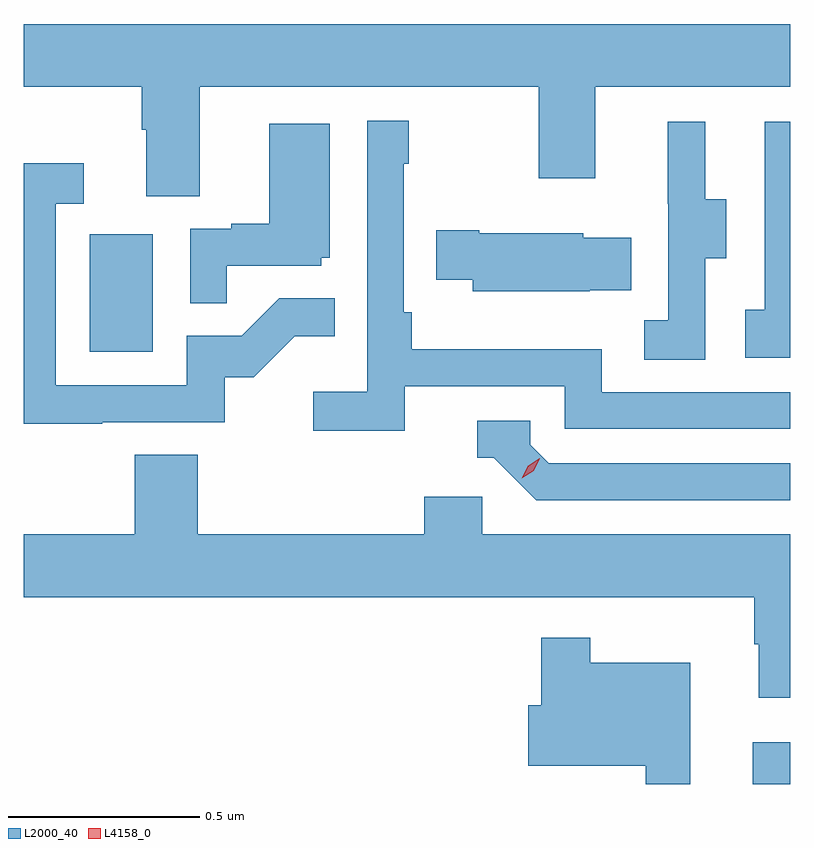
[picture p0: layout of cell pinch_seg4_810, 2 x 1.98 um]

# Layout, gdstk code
import gdstk
lib = gdstk.Library(unit=1e-6, precision=1e-09)
def R(c, l, rs):  # rectangles x0, y0, x1, y1
    for r in rs: c.add(gdstk.rectangle(r[:2], r[2:], *l))
def P(c, l, *ps):  # polygons
    for p in ps: c.add(gdstk.Polygon(p, *l))
L2000_40 = (2000, 40)
L4158_0 = (4158, 0)

pinch_seg4_810 = lib.new_cell('pinch_seg4_810')
R(pinch_seg4_810, L2000_40, [(806.855,820.308,806.952,820.417), (805.124,821.436,805.288,821.743)])
P(pinch_seg4_810, L2000_40, [(805.411,822.128),(806.296,822.128),(806.296,821.889),(806.443,821.889),(806.443,822.128),(806.952,822.128),(806.952,822.292),(804.952,822.292),(804.952,822.128),(805.259,822.128),(805.259,822.016),(805.271,822.016),(805.271,821.842),(805.411,821.842)],
  [(805.946,821.346),(806.364,821.346),(806.364,821.235),(806.952,821.235),(806.952,821.331),(806.46,821.331),(806.46,821.443),(805.964,821.443),(805.964,821.539),(805.944,821.539),(805.944,821.927),(805.957,821.927),(805.957,822.04),(805.848,822.04),(805.848,821.332),(805.707,821.332),(805.707,821.23),(805.946,821.23)],
  [(806.952,822.037),(806.886,822.037),(806.886,821.546),(806.835,821.546),(806.835,821.421),(806.952,821.421)],
  [(806.73,821.68),(806.785,821.68),(806.785,821.835),(806.731,821.835),(806.731,822.037),(806.633,822.037),(806.633,821.823),(806.634,821.823),(806.634,821.519),(806.571,821.519),(806.571,821.416),(806.73,821.416)],
  [(805.481,821.661),(805.728,821.661),(805.728,821.682),(805.75,821.682),(805.75,822.031),(805.592,822.031),(805.592,821.77),(805.493,821.77),(805.493,821.757),(805.386,821.757),(805.386,821.563),(805.481,821.563)],
  [(805.157,821.253),(805.476,821.253),(805.476,821.37),(805.552,821.37),(805.659,821.477),(805.763,821.477),(805.763,821.576),(805.619,821.576),(805.521,821.478),(805.377,821.478),(805.377,821.349),(805.035,821.349),(805.035,821.823),(805.108,821.823),(805.108,821.929),(804.952,821.929),(804.952,821.248),(805.157,821.248)],
  [(806.429,821.597),(806.537,821.597),(806.537,821.734),(806.412,821.734),(806.412,821.746),(806.14,821.746),(806.14,821.754),(806.029,821.754),(806.029,821.624),(806.123,821.624),(806.123,821.594),(806.429,821.594)],
  [(806.952,821.145),(806.322,821.145),(806.274,821.193),(806.274,821.256),(806.135,821.256),(806.135,821.16),(806.178,821.16),(806.289,821.049),(806.952,821.049)],
  [(806.148,821.058),(805.997,821.058),(805.997,820.96),(805.406,820.96),(805.406,821.168),(805.241,821.168),(805.241,820.96),(804.952,820.96),(804.952,820.796),(806.859,820.796),(806.859,820.673),(806.87,820.673),(806.87,820.533),(806.952,820.533),(806.952,820.96),(806.148,820.96)],
  [(806.692,820.624),(806.431,820.624),(806.431,820.69),(806.302,820.69),(806.302,820.513),(806.268,820.513),(806.268,820.355),(806.575,820.355),(806.575,820.308),(806.692,820.308)])
P(pinch_seg4_810, L4158_0, [(806.252,821.106),(806.252,821.106),(806.268,821.139),(806.298,821.159),(806.298,821.159),(806.298,821.159),(806.283,821.126),(806.252,821.106)])

lib.write_gds('pinch_seg4_810.gds')
